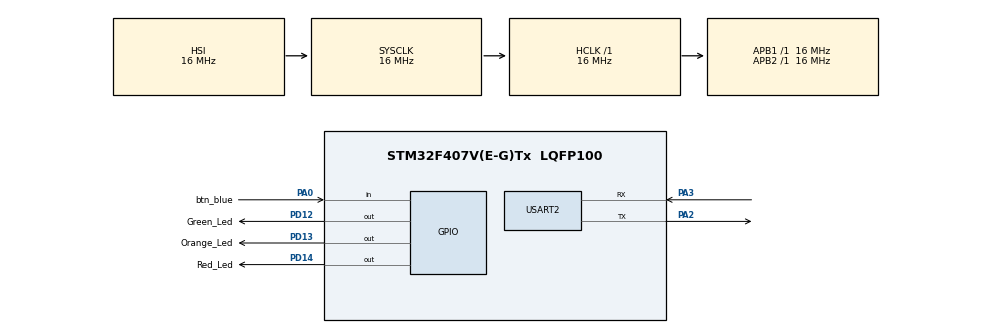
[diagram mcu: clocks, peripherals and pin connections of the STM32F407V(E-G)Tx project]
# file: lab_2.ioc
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Mcu.Family=STM32F4
Mcu.Name=STM32F407V(E-G)Tx
Mcu.Package=LQFP100
NVIC.PriorityGroup=NVIC_PRIORITYGROUP_4
NVIC.TIM7_IRQn=true\:15\:0\:false\:false\:true\:false\:true\:true
NVIC.TimeBase=TIM7_IRQn
NVIC.TimeBaseIP=TIM7
PA0-WKUP.GPIO_Label=btn_blue
PA0-WKUP.Signal=GPIO_Input
PA13.Mode=Serial_Wire
PA13.Signal=SYS_JTMS-SWDIO
PA14.Mode=Serial_Wire
PA14.Signal=SYS_JTCK-SWCLK
PA2.Mode=Asynchronous
PA2.Signal=USART2_TX
PA3.Mode=Asynchronous
PA3.Signal=USART2_RX
PD12.GPIO_Label=Green_Led
PD12.Signal=GPIO_Output
PD13.GPIO_Label=Orange_Led
PD13.Signal=GPIO_Output
PD14.GPIO_Label=Red_Led
PD14.Signal=GPIO_Output
ProjectManager.HeapSize=0x200
ProjectManager.StackSize=0x400
ProjectManager.TargetToolchain=STM32CubeIDE
RCC.AHBFreq_Value=16000000
RCC.APB1Freq_Value=16000000
RCC.APB2Freq_Value=16000000
RCC.CortexFreq_Value=16000000
RCC.HSE_VALUE=25000000
RCC.HSI_VALUE=16000000
RCC.LSE_VALUE=32768
RCC.SYSCLKFreq_VALUE=16000000
RCC.VCOOutputFreq_Value=192000000
USART2.VirtualMode=VM_ASYNC
VP_SYS_VS_tim7.Mode=TIM7
board=custom

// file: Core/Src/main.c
/* USER CODE BEGIN Header */
/**
  ******************************************************************************
  * @file           : main.c
  * @brief          : Main program body
  ******************************************************************************
  * @attention
  *
  * Copyright (c) 2023 STMicroelectronics.
  * All rights reserved.
  *
  * This software is licensed under terms that can be found in the LICENSE file
  * in the root directory of this software component.
  * If no LICENSE file comes with this software, it is provided AS-IS.
  *
  ******************************************************************************
  */
/* USER CODE END Header */

#include "main.h"

/* USER CODE BEGIN Includes */
#include "stdio.h"
#include "stdlib.h"
#include "FreeRTOS.h"
#include "task.h"
#include "queue.h"

/* USER CODE END Includes */

UART_HandleTypeDef huart2;

//void USART_Test(void *pvParameters);
void SystemClock_Config(void);
static void MX_GPIO_Init(void);
static void MX_USART2_UART_Init(void);

/* USER CODE BEGIN 0 */

void Red_LED_App(void *pvParameters);
void Green_LED_App(void *pvParameters);
void TaskMonitor_App(void *pvParameters);
void Delay_App(void *pvParameters);
/* USER CODE END 0 */

int main(void)
{

  /* MCU Configuration--------------------------------------------------------*/

  /* Reset of all peripherals, Initializes the Flash interface and the Systick. */
  HAL_Init();

  /* Configure the system clock */
  SystemClock_Config();

  /* Initialize all configured peripherals */
  MX_GPIO_Init();
  MX_USART2_UART_Init();
  /* USER CODE BEGIN 2 */

//  xTaskCreate(USART_Test, "USART", 1000, NULL, 1, NULL);
  xTaskCreate(Red_LED_App, "Red", 1000, NULL, 1, NULL);
  xTaskCreate(Green_LED_App, "Green", 1000, NULL, 1, NULL);
  xTaskCreate(TaskMonitor_App, "Monitor", 1000, NULL, 3, NULL);
  xTaskCreate(Delay_App, "Delay", 1000, NULL, 14, NULL);
  vTaskStartScheduler();
  /* USER CODE END 2 */

  /* Infinite loop */
  while (1)
  {

  }
}

void SystemClock_Config(void)
{
  RCC_OscInitTypeDef RCC_OscInitStruct = {0};
  RCC_ClkInitTypeDef RCC_ClkInitStruct = {0};

  /** Configure the main internal regulator output voltage
  */
  __HAL_RCC_PWR_CLK_ENABLE();
  __HAL_PWR_VOLTAGESCALING_CONFIG(PWR_REGULATOR_VOLTAGE_SCALE1);

  /** Initializes the RCC Oscillators according to the specified parameters
  * in the RCC_OscInitTypeDef structure.
  */
  RCC_OscInitStruct.OscillatorType = RCC_OSCILLATORTYPE_HSI;
  RCC_OscInitStruct.HSIState = RCC_HSI_ON;
  RCC_OscInitStruct.HSICalibrationValue = RCC_HSICALIBRATION_DEFAULT;
  RCC_OscInitStruct.PLL.PLLState = RCC_PLL_NONE;
  if (HAL_RCC_OscConfig(&RCC_OscInitStruct) != HAL_OK)
  {
    Error_Handler();
  }

  /** Initializes the CPU, AHB and APB buses clocks
  */
  RCC_ClkInitStruct.ClockType = RCC_CLOCKTYPE_HCLK|RCC_CLOCKTYPE_SYSCLK
                              |RCC_CLOCKTYPE_PCLK1|RCC_CLOCKTYPE_PCLK2;
  RCC_ClkInitStruct.SYSCLKSource = RCC_SYSCLKSOURCE_HSI;
  RCC_ClkInitStruct.AHBCLKDivider = RCC_SYSCLK_DIV1;
  RCC_ClkInitStruct.APB1CLKDivider = RCC_HCLK_DIV1;
  RCC_ClkInitStruct.APB2CLKDivider = RCC_HCLK_DIV1;

  if (HAL_RCC_ClockConfig(&RCC_ClkInitStruct, FLASH_LATENCY_0) != HAL_OK)
  {
    Error_Handler();
  }
}

static void MX_USART2_UART_Init(void)
{

  huart2.Instance = USART2;
  huart2.Init.BaudRate = 115200;
  huart2.Init.WordLength = UART_WORDLENGTH_8B;
  huart2.Init.StopBits = UART_STOPBITS_1;
  huart2.Init.Parity = UART_PARITY_NONE;
  huart2.Init.Mode = UART_MODE_TX_RX;
  huart2.Init.HwFlowCtl = UART_HWCONTROL_NONE;
  huart2.Init.OverSampling = UART_OVERSAMPLING_16;
  if (HAL_UART_Init(&huart2) != HAL_OK)
  {
    Error_Handler();
  }

}

static void MX_GPIO_Init(void)
{
  GPIO_InitTypeDef GPIO_InitStruct = {0};

  /* GPIO Ports Clock Enable */
  __HAL_RCC_GPIOA_CLK_ENABLE();
  __HAL_RCC_GPIOD_CLK_ENABLE();

  /*Configure GPIO pin Output Level */
  HAL_GPIO_WritePin(GPIOD, Green_Led_Pin|Orange_Led_Pin|Red_Led_Pin, GPIO_PIN_RESET);

  /*Configure GPIO pin : btn_blue_Pin */
  GPIO_InitStruct.Pin = btn_blue_Pin;
  GPIO_InitStruct.Mode = GPIO_MODE_INPUT;
  GPIO_InitStruct.Pull = GPIO_NOPULL;
  HAL_GPIO_Init(btn_blue_GPIO_Port, &GPIO_InitStruct);

  /*Configure GPIO pins : Green_Led_Pin Orange_Led_Pin Red_Led_Pin */
  GPIO_InitStruct.Pin = Green_Led_Pin|Orange_Led_Pin|Red_Led_Pin;
  GPIO_InitStruct.Mode = GPIO_MODE_OUTPUT_PP;
  GPIO_InitStruct.Pull = GPIO_NOPULL;
  GPIO_InitStruct.Speed = GPIO_SPEED_FREQ_LOW;
  HAL_GPIO_Init(GPIOD, &GPIO_InitStruct);

}

/* USER CODE BEGIN 4 */
/*void USART_Test(void *pvParameters){
	uint32_t Monitortimer = 400;
	char MonitorTset[30];
	char num[15];
	int i = 0;
	while(1){
		memset(MonitorTset,'\0',sizeof(MonitorTset));
		memset(num,'\0',sizeof(num));
		itoa(i,num,10);
		strcat(num," ");
		sprintf(MonitorTset,"The point is %s\n\r",num);
		HAL_UART_Transmit(&huart2,(uint8_t *)MonitorTset,strlen(MonitorTset),0xffff);
		vTaskDelay(Monitortimer);
		Monitortimer += 1;
		i += 1;
	}
}
*/
void Red_LED_App(void *pvParameters){
	uint32_t Redtimer = 800;
	for(;;){
		HAL_GPIO_TogglePin(GPIOD,Red_Led_Pin);
		vTaskDelay(Redtimer);
		Redtimer += 1;
	}
}

void Green_LED_App(void *pvParameters){
	uint32_t Greentimer = 1000;
	for(;;){
		HAL_GPIO_TogglePin(GPIOD,Green_Led_Pin);
		vTaskDelay(Greentimer);
		Greentimer += 2;
	}
}

void TaskMonitor_App(void *pvParameters){

	/*
	uint32_t Monitortimer = 200;
	char MonitorTset[20];
	char num[15];
	int i = 0;
	while(1){
		memset(MonitorTset,'\0',sizeof(MonitorTset));
		memset(num,'\0',sizeof(num));
		itoa(i,num,10);
		strcat(num," ");
		sprintf(MonitorTset,"The point is %s\n\r",num);
		HAL_UART_Transmit(&huart2,(uint8_t *)MonitorTset,strlen(MonitorTset),0xffff);
		vTaskDelay(Monitortimer);
		Monitortimer += 1;
		i += 1;
	}
	*/
/*
	uint8_t i = 100;
	for(;;)
	{
		Taskmonitor();
		i += 1;
		vTaskDelay(i);
		if(i == 500)
			i = 0;
	}
*/  for(;;){
	Taskmonitor();
	vTaskDelay(1000);
	}
}

void Delay_App(void *pvParameters){
/*	while(1){
		vTaskDelay(15000);
	}
*/
	int delayflag=0;
	uint32_t delaytime;
	while(1){
		if(delayflag==0){
			delaytime=1000;
			delayflag=1;

		}else{
			delaytime=0xFFFFFFFF;
		}
		vTaskDelay(delaytime);
	}
}

/* USER CODE END 4 */

void HAL_TIM_PeriodElapsedCallback(TIM_HandleTypeDef *htim)
{
  if (htim->Instance == TIM7) {
    HAL_IncTick();
  }
}

void Error_Handler(void)
{
  __disable_irq();
  while (1)
  {
  }
}
